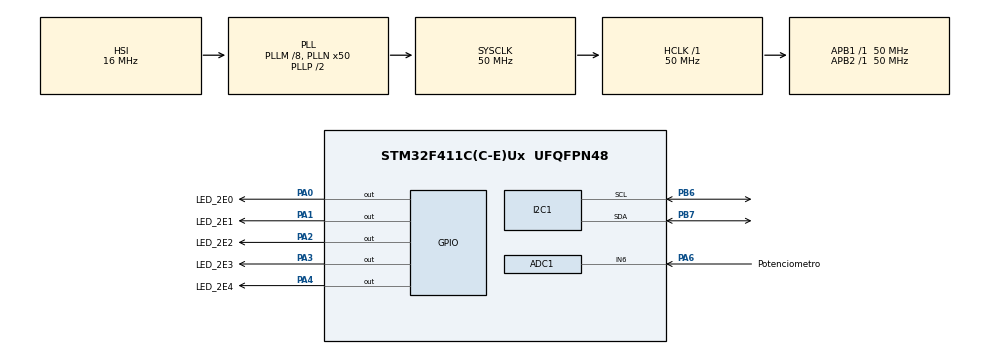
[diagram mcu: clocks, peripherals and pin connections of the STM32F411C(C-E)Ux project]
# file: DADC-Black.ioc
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ADC1.Channel-0\#ChannelRegularConversion=ADC_CHANNEL_6
ADC1.NbrOfConversionFlag=1
ADC1.Rank-0\#ChannelRegularConversion=1
ADC1.SamplingTime-0\#ChannelRegularConversion=ADC_SAMPLETIME_3CYCLES
ADC1.master=1
Mcu.Family=STM32F4
Mcu.Name=STM32F411C(C-E)Ux
Mcu.Package=UFQFPN48
NVIC.ADC_IRQn=true\:0\:0\:false\:false\:true\:true\:true\:true
NVIC.I2C1_ER_IRQn=true\:0\:0\:false\:false\:true\:true\:true\:true
NVIC.I2C1_EV_IRQn=true\:0\:0\:false\:false\:true\:true\:true\:true
NVIC.PriorityGroup=NVIC_PRIORITYGROUP_4
PA0-WKUP.GPIO_Label=LED_2E0
PA0-WKUP.Signal=GPIO_Output
PA1.GPIO_Label=LED_2E1
PA1.Signal=GPIO_Output
PA13.Mode=Serial_Wire
PA13.Signal=SYS_JTMS-SWDIO
PA14.Mode=Serial_Wire
PA14.Signal=SYS_JTCK-SWCLK
PA2.GPIO_Label=LED_2E2
PA2.Signal=GPIO_Output
PA3.GPIO_Label=LED_2E3
PA3.Signal=GPIO_Output
PA4.GPIO_Label=LED_2E4
PA4.Signal=GPIO_Output
PA6.GPIO_Label=Potenciometro
PA6.Signal=ADCx_IN6
PB6.Mode=I2C
PB6.Signal=I2C1_SCL
PB7.Mode=I2C
PB7.Signal=I2C1_SDA
PC14-OSC32_IN.Mode=LSE-External-Oscillator
PC14-OSC32_IN.Signal=RCC_OSC32_IN
PC15-OSC32_OUT.Mode=LSE-External-Oscillator
PC15-OSC32_OUT.Signal=RCC_OSC32_OUT
PH0\ -\ OSC_IN.Mode=HSE-External-Oscillator
PH0\ -\ OSC_IN.Signal=RCC_OSC_IN
PH1\ -\ OSC_OUT.Mode=HSE-External-Oscillator
PH1\ -\ OSC_OUT.Signal=RCC_OSC_OUT
ProjectManager.HeapSize=0x200
ProjectManager.StackSize=0x400
ProjectManager.TargetToolchain=STM32CubeIDE
RCC.48MHZClocksFreq_Value=25000000
RCC.AHBFreq_Value=50000000
RCC.APB1Freq_Value=50000000
RCC.APB1TimFreq_Value=50000000
RCC.APB2Freq_Value=50000000
RCC.APB2TimFreq_Value=50000000
RCC.CortexFreq_Value=50000000
RCC.HCLKFreq_Value=50000000
RCC.HSE_VALUE=25000000
RCC.HSI_VALUE=16000000
RCC.PLLM=8
RCC.PLLN=50
RCC.SYSCLKFreq_VALUE=50000000
RCC.SYSCLKSource=RCC_SYSCLKSOURCE_PLLCLK
RCC.VCOOutputFreq_Value=100000000
SH.ADCx_IN6.0=ADC1_IN6,IN6
board=custom

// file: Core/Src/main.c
/* USER CODE BEGIN Header */
/**
  ******************************************************************************
  * @file           : main.c
  * @brief          : Main program body
  ******************************************************************************
  * @attention
  *
  * Copyright (c) 2026 STMicroelectronics.
  * All rights reserved.
  *
  * This software is licensed under terms that can be found in the LICENSE file
  * in the root directory of this software component.
  * If no LICENSE file comes with this software, it is provided AS-IS.
  *
  ******************************************************************************
  */
/* USER CODE END Header */
#include "main.h"

/* USER CODE BEGIN Includes */
#include <math.h>
#include "LCD_I2C.h"
/* USER CODE END Includes */

ADC_HandleTypeDef hadc1;

I2C_HandleTypeDef hi2c1;

/* USER CODE BEGIN PV */
I2C_LCD_Handler lcd1;
/* USER CODE END PV */

void SystemClock_Config(void);
static void MX_GPIO_Init(void);
static void MX_ADC1_Init(void);
static void MX_I2C1_Init(void);

/* USER CODE BEGIN 0 */
uint16_t mVPot;	// Usada para armazenar o valor de tensao no potenciometro (em mV)
uint16_t CBL;	// Usada para manipular os LEDs
double TensQuad;// Usada para armazenar (e monitorar) o resultado da potencia (em V) ao quadrado

uint16_t LePot(ADC_HandleTypeDef * EntradaADC) // Faz conversão AD e retorna numero dentro do intervalo [0-3300]
{
    HAL_ADC_Start(&hadc1); // Inicia a conversão de sinal Analogico para sinal Digital
    HAL_ADC_PollForConversion(&hadc1, 100); // Faz o microcontrolador aguardar (por no máximo 100ms) até a conversão completar
    return HAL_ADC_GetValue(&hadc1)*3300/4095; // Lê o valor convertido [0-4095] e converte num intervalo [0-3300]
}

void ContagemBin(uint16_t TensaomV) // 5 == Apenas LED_2^0 + LED_2^2 Ligados
{
    HAL_GPIO_WritePin(GPIOA, ~TensaomV, 0);
    HAL_GPIO_WritePin(GPIOA,  TensaomV, 1);
}

void AtualizaLCD(I2C_LCD_Handler * LCD, float Tensao, double TQd)
{
	  LCD_Clear_Partial_Line(LCD, 0, (sizeof("Tensao:"))-1);
	  LCD_Write_Number(LCD, Tensao, 3);

	  LCD_Clear_Partial_Line(LCD, 1, (sizeof("TenQuad:"))-1);
	  LCD_Write_Number(LCD, TQd, 2);

	  if (LCD_Get_nLines(LCD)>=3)
	  {
		  LCD_Clear_Partial_Line(LCD, 2, (sizeof("ContadorBinLEDs:"))-1);
		  LCD_Write_Number(LCD, ((Tensao*1000)/104), 0);
	  }
}
/* USER CODE END 0 */

int main(void)
{

  /* MCU Configuration--------------------------------------------------------*/

  /* Reset of all peripherals, Initializes the Flash interface and the Systick. */
  HAL_Init();

  /* Configure the system clock */
  SystemClock_Config();

  /* Initialize all configured peripherals */
  MX_GPIO_Init();
  MX_ADC1_Init();
  MX_I2C1_Init();
  /* USER CODE BEGIN 2 */
  LCD_Default_Init(&lcd1, &hi2c1, 0x27, 20, 4);
  LCD_Clear_All(&lcd1);

  LCD_Set_Pos(&lcd1, 0, 0);
  LCD_Write_String(&lcd1, "Tensao:"); //7

  LCD_Set_Pos(&lcd1, 0, 1);
  LCD_Write_String(&lcd1, "TenQuad:"); //8

  if (LCD_Get_nLines(&lcd1)>=3)
  {
	  LCD_Set_Pos(&lcd1, 0, 2);
	  LCD_Write_String(&lcd1, "ContadorBinLEDs:"); //16
  }

  if (LCD_Get_nLines(&lcd1)>=4)
  {
	  LCD_Set_Pos(&lcd1, 0, 3);
	  LCD_Write_String(&lcd1, "Funciona Bonitamente");
  }
  /* USER CODE END 2 */

  /* Infinite loop */
  /* USER CODE BEGIN WHILE */
  while (1)
  {
	mVPot = LePot(&hadc1); // [0-3300]
	TensQuad = (pow( ((float)(mVPot/1000.0)), 2) ); //Transforma mV em V, para então V*V
	CBL = (mVPot/104); // 3300/(2^5) ~= 104 [0-31]
	ContagemBin(CBL); // Manipula LEDs De Acordo Com A Tensão Lida No Potenciometro
	AtualizaLCD(&lcd1, ((float)(mVPot/1000.0)), TensQuad);
	HAL_Delay(100); // Melhora visibilidade ao aumentar tempo entre amostras
    /* USER CODE END WHILE */

  }
}

void SystemClock_Config(void)
{
  RCC_OscInitTypeDef RCC_OscInitStruct = {0};
  RCC_ClkInitTypeDef RCC_ClkInitStruct = {0};

  /** Configure the main internal regulator output voltage
  */
  __HAL_RCC_PWR_CLK_ENABLE();
  __HAL_PWR_VOLTAGESCALING_CONFIG(PWR_REGULATOR_VOLTAGE_SCALE1);

  /** Initializes the RCC Oscillators according to the specified parameters
  * in the RCC_OscInitTypeDef structure.
  */
  RCC_OscInitStruct.OscillatorType = RCC_OSCILLATORTYPE_HSI;
  RCC_OscInitStruct.HSIState = RCC_HSI_ON;
  RCC_OscInitStruct.HSICalibrationValue = RCC_HSICALIBRATION_DEFAULT;
  RCC_OscInitStruct.PLL.PLLState = RCC_PLL_ON;
  RCC_OscInitStruct.PLL.PLLSource = RCC_PLLSOURCE_HSI;
  RCC_OscInitStruct.PLL.PLLM = 8;
  RCC_OscInitStruct.PLL.PLLN = 50;
  RCC_OscInitStruct.PLL.PLLP = RCC_PLLP_DIV2;
  RCC_OscInitStruct.PLL.PLLQ = 4;
  if (HAL_RCC_OscConfig(&RCC_OscInitStruct) != HAL_OK)
  {
    Error_Handler();
  }

  /** Initializes the CPU, AHB and APB buses clocks
  */
  RCC_ClkInitStruct.ClockType = RCC_CLOCKTYPE_HCLK|RCC_CLOCKTYPE_SYSCLK
                              |RCC_CLOCKTYPE_PCLK1|RCC_CLOCKTYPE_PCLK2;
  RCC_ClkInitStruct.SYSCLKSource = RCC_SYSCLKSOURCE_PLLCLK;
  RCC_ClkInitStruct.AHBCLKDivider = RCC_SYSCLK_DIV1;
  RCC_ClkInitStruct.APB1CLKDivider = RCC_HCLK_DIV1;
  RCC_ClkInitStruct.APB2CLKDivider = RCC_HCLK_DIV1;

  if (HAL_RCC_ClockConfig(&RCC_ClkInitStruct, FLASH_LATENCY_1) != HAL_OK)
  {
    Error_Handler();
  }
}

static void MX_ADC1_Init(void)
{

  ADC_ChannelConfTypeDef sConfig = {0};

  /** Configure the global features of the ADC (Clock, Resolution, Data Alignment and number of conversion)
  */
  hadc1.Instance = ADC1;
  hadc1.Init.ClockPrescaler = ADC_CLOCK_SYNC_PCLK_DIV2;
  hadc1.Init.Resolution = ADC_RESOLUTION_12B;
  hadc1.Init.ScanConvMode = DISABLE;
  hadc1.Init.ContinuousConvMode = DISABLE;
  hadc1.Init.DiscontinuousConvMode = DISABLE;
  hadc1.Init.ExternalTrigConvEdge = ADC_EXTERNALTRIGCONVEDGE_NONE;
  hadc1.Init.ExternalTrigConv = ADC_SOFTWARE_START;
  hadc1.Init.DataAlign = ADC_DATAALIGN_RIGHT;
  hadc1.Init.NbrOfConversion = 1;
  hadc1.Init.DMAContinuousRequests = DISABLE;
  hadc1.Init.EOCSelection = ADC_EOC_SINGLE_CONV;
  if (HAL_ADC_Init(&hadc1) != HAL_OK)
  {
    Error_Handler();
  }

  /** Configure for the selected ADC regular channel its corresponding rank in the sequencer and its sample time.
  */
  sConfig.Channel = ADC_CHANNEL_6;
  sConfig.Rank = 1;
  sConfig.SamplingTime = ADC_SAMPLETIME_3CYCLES;
  if (HAL_ADC_ConfigChannel(&hadc1, &sConfig) != HAL_OK)
  {
    Error_Handler();
  }

}

static void MX_I2C1_Init(void)
{

  hi2c1.Instance = I2C1;
  hi2c1.Init.ClockSpeed = 100000;
  hi2c1.Init.DutyCycle = I2C_DUTYCYCLE_2;
  hi2c1.Init.OwnAddress1 = 0;
  hi2c1.Init.AddressingMode = I2C_ADDRESSINGMODE_7BIT;
  hi2c1.Init.DualAddressMode = I2C_DUALADDRESS_DISABLE;
  hi2c1.Init.OwnAddress2 = 0;
  hi2c1.Init.GeneralCallMode = I2C_GENERALCALL_DISABLE;
  hi2c1.Init.NoStretchMode = I2C_NOSTRETCH_DISABLE;
  if (HAL_I2C_Init(&hi2c1) != HAL_OK)
  {
    Error_Handler();
  }

}

static void MX_GPIO_Init(void)
{
  GPIO_InitTypeDef GPIO_InitStruct = {0};

  /* GPIO Ports Clock Enable */
  __HAL_RCC_GPIOC_CLK_ENABLE();
  __HAL_RCC_GPIOH_CLK_ENABLE();
  __HAL_RCC_GPIOA_CLK_ENABLE();
  __HAL_RCC_GPIOB_CLK_ENABLE();

  /*Configure GPIO pin Output Level */
  HAL_GPIO_WritePin(GPIOA, LED_2E0_Pin|LED_2E1_Pin|LED_2E2_Pin|LED_2E3_Pin
                          |LED_2E4_Pin, GPIO_PIN_RESET);

  /*Configure GPIO pins : LED_2E0_Pin LED_2E1_Pin LED_2E2_Pin LED_2E3_Pin
                           LED_2E4_Pin */
  GPIO_InitStruct.Pin = LED_2E0_Pin|LED_2E1_Pin|LED_2E2_Pin|LED_2E3_Pin
                          |LED_2E4_Pin;
  GPIO_InitStruct.Mode = GPIO_MODE_OUTPUT_PP;
  GPIO_InitStruct.Pull = GPIO_NOPULL;
  GPIO_InitStruct.Speed = GPIO_SPEED_FREQ_LOW;
  HAL_GPIO_Init(GPIOA, &GPIO_InitStruct);

}

void Error_Handler(void)
{
  __disable_irq();
  while (1)
  {
  }
}
